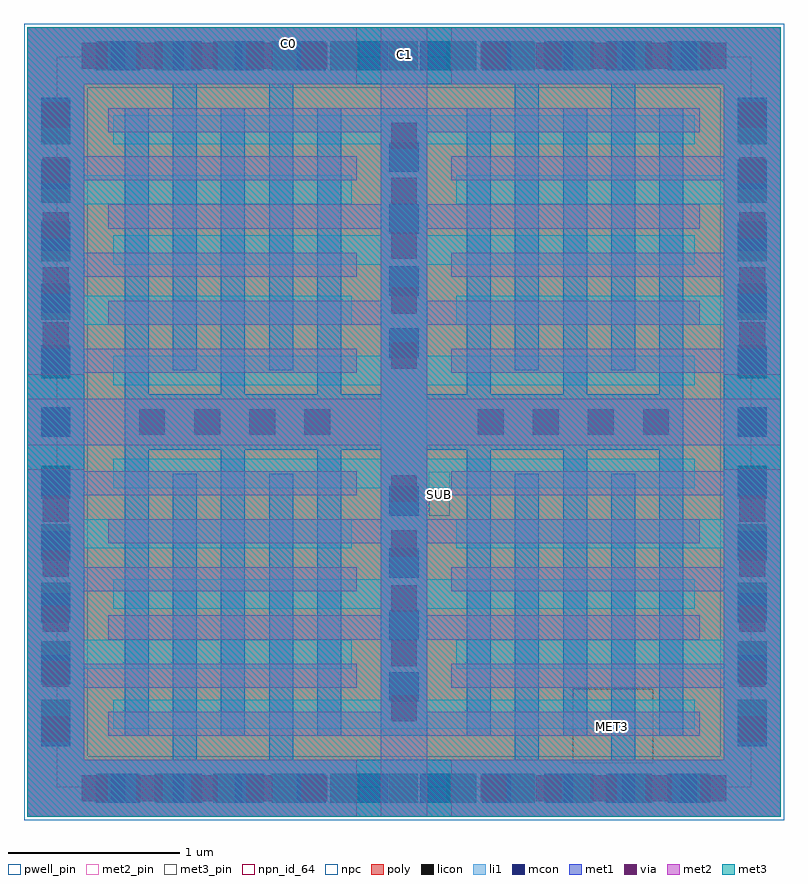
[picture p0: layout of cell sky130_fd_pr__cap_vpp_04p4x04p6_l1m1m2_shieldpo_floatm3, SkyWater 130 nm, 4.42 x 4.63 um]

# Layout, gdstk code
import gdstk
lib = gdstk.Library(unit=1e-6, precision=1e-09)
def R(c, l, rs):  # rectangles x0, y0, x1, y1
    for r in rs: c.add(gdstk.rectangle(r[:2], r[2:], *l))
def A(c, l, x, y, w, h, nx, ny, dx, dy):  # array of equal rectangles
    R(c, l, [(x+i*dx, y+j*dy, x+i*dx+w, y+j*dy+h) for i in range(nx) for j in range(ny)])
poly = (66, 20)
licon = (66, 44)
li1 = (67, 20)
mcon = (67, 44)
met1 = (68, 20)
via = (68, 44)
met2_pin = (69, 16)
met2 = (69, 20)
met3_pin = (70, 16)
met3 = (70, 20)
npn_id_64 = (82, 64)
npc = (95, 20)
pwell_pin = (122, 16)

sky130_fd_pr__cap_vpp_04 = lib.new_cell('sky130_fd_pr__cap_vpp_04p4x04p6_l1m1m2_shieldpo_floatm3')
R(sky130_fd_pr__cap_vpp_04, poly, [(0,0,4.38,4.59)])
A(sky130_fd_pr__cap_vpp_04, licon, 0.4, 0.08, 0.17, 0.17, 11, 2, 0.34, 4.26)
A(sky130_fd_pr__cap_vpp_04, licon, 0.08, 0.51, 0.17, 0.17, 1, 11, 0, 0.34)
A(sky130_fd_pr__cap_vpp_04, licon, 4.13, 0.51, 0.17, 0.17, 1, 11, 0, 0.34)
A(sky130_fd_pr__cap_vpp_04, li1, 0.5, 0.51, 1.575, 0.17, 1, 3, 0, 0.7)
A(sky130_fd_pr__cap_vpp_04, li1, 2.305, 0.51, 1.575, 0.17, 1, 3, 0, 0.7)
A(sky130_fd_pr__cap_vpp_04, li1, 0.5, 2.51, 1.575, 0.17, 1, 3, 0, 0.7)
A(sky130_fd_pr__cap_vpp_04, li1, 2.305, 2.51, 1.575, 0.17, 1, 3, 0, 0.7)
R(sky130_fd_pr__cap_vpp_04, li1, [(0,0,0.33,4.59), (0.33,0,4.38,0.33), (4.05,0,4.38,4.59), (2.055,0.51,2.325,4.08), (0.33,0.86,1.885,1.03), (2.495,0.86,4.05,1.03), (0.33,1.56,1.885,1.73), (2.495,1.56,4.05,1.73), (0.33,2.86,1.885,3.03), (2.495,2.86,4.05,3.03), (0.33,3.56,1.885,3.73), (2.495,3.56,4.05,3.73), (0,4.26,4.38,4.59)])
A(sky130_fd_pr__cap_vpp_04, mcon, 0.485, 0.08, 0.17, 0.17, 10, 2, 0.36, 4.26)
A(sky130_fd_pr__cap_vpp_04, mcon, 0.08, 0.41, 0.17, 0.17, 1, 11, 0, 0.36)
A(sky130_fd_pr__cap_vpp_04, mcon, 4.13, 0.41, 0.17, 0.17, 1, 11, 0, 0.36)
A(sky130_fd_pr__cap_vpp_04, mcon, 2.105, 0.67, 0.17, 0.17, 1, 4, 0, 0.36)
A(sky130_fd_pr__cap_vpp_04, mcon, 2.105, 2.67, 0.17, 0.17, 1, 4, 0, 0.36)
A(sky130_fd_pr__cap_vpp_04, met1, 0.565, 0.47, 0.14, 1.665, 3, 2, 0.56, 1.985)
A(sky130_fd_pr__cap_vpp_04, met1, 2.555, 0.47, 0.14, 1.665, 3, 2, 0.56, 1.985)
R(sky130_fd_pr__cap_vpp_04, met1, [(0,0,4.38,0.33), (0.845,0.32,0.985,1.995), (1.405,0.32,1.545,1.995), (2.835,0.32,2.975,1.995), (3.395,0.32,3.535,1.995), (0,0.33,0.33,4.26), (4.05,0.33,4.38,4.27), (2.055,0.47,2.325,4.12), (0.565,2.135,2.325,2.455), (2.055,2.135,3.815,2.455), (0.845,2.595,0.985,4.27), (1.405,2.595,1.545,4.27), (2.835,2.595,2.975,4.27), (3.395,2.595,3.535,4.27), (0,4.26,4.38,4.59), (0,4.27,0.33,4.59)])
A(sky130_fd_pr__cap_vpp_04, via, 0.09, 0.435, 0.15, 0.15, 1, 5, 0, 0.32)
A(sky130_fd_pr__cap_vpp_04, via, 4.14, 0.435, 0.15, 0.15, 1, 5, 0, 0.32)
A(sky130_fd_pr__cap_vpp_04, via, 2.115, 0.555, 0.15, 0.15, 1, 5, 0, 0.32)
A(sky130_fd_pr__cap_vpp_04, via, 0.65, 2.22, 0.15, 0.15, 4, 1, 0.32, 0)
A(sky130_fd_pr__cap_vpp_04, via, 2.62, 2.22, 0.15, 0.15, 4, 1, 0.32, 0)
A(sky130_fd_pr__cap_vpp_04, via, 2.115, 2.605, 0.15, 0.15, 1, 5, 0, 0.32)
A(sky130_fd_pr__cap_vpp_04, via, 0.09, 2.725, 0.15, 0.15, 1, 5, 0, 0.32)
A(sky130_fd_pr__cap_vpp_04, via, 4.14, 2.725, 0.15, 0.15, 1, 5, 0, 0.32)
R(sky130_fd_pr__cap_vpp_04, via, [(0.315,0.09,0.465,0.24), (0.315,0.09,0.465,0.24), (0.635,0.09,0.785,0.24), (0.635,0.09,0.785,0.24), (0.955,0.09,1.105,0.24), (0.955,0.09,1.105,0.24), (1.275,0.09,1.425,0.24), (1.275,0.09,1.425,0.24), (1.595,0.09,1.745,0.24), (1.595,0.09,1.745,0.24), (2.635,0.09,2.785,0.24), (2.635,0.09,2.785,0.24), (2.955,0.09,3.105,0.24), (2.955,0.09,3.105,0.24), (3.275,0.09,3.425,0.24), (3.275,0.09,3.425,0.24), (3.595,0.09,3.745,0.24), (3.595,0.09,3.745,0.24), (3.915,0.09,4.065,0.24), (3.915,0.09,4.065,0.24), (0.315,4.35,0.465,4.5), (0.315,4.35,0.465,4.5), (0.635,4.35,0.785,4.5), (0.635,4.35,0.785,4.5), (0.955,4.35,1.105,4.5), (0.955,4.35,1.105,4.5), (1.275,4.35,1.425,4.5), (1.275,4.35,1.425,4.5), (1.595,4.35,1.745,4.5), (1.595,4.35,1.745,4.5), (2.635,4.35,2.785,4.5), (2.635,4.35,2.785,4.5), (2.955,4.35,3.105,4.5), (2.955,4.35,3.105,4.5), (3.275,4.35,3.425,4.5), (3.275,4.35,3.425,4.5), (3.595,4.35,3.745,4.5), (3.595,4.35,3.745,4.5), (3.915,4.35,4.065,4.5), (3.915,4.35,4.065,4.5)])
R(sky130_fd_pr__cap_vpp_04, met2_pin, [(2.1,4.34,2.29,4.525), (1.455,4.42,1.585,4.57)])
A(sky130_fd_pr__cap_vpp_04, met2, 0.47, 0.47, 1.585, 0.14, 1, 3, 0, 0.56)
A(sky130_fd_pr__cap_vpp_04, met2, 2.325, 0.47, 1.585, 0.14, 1, 3, 0, 0.56)
A(sky130_fd_pr__cap_vpp_04, met2, 0.33, 0.75, 1.585, 0.14, 1, 3, 0, 0.56)
A(sky130_fd_pr__cap_vpp_04, met2, 2.465, 0.75, 1.585, 0.14, 1, 3, 0, 0.56)
A(sky130_fd_pr__cap_vpp_04, met2, 0.33, 2.58, 1.585, 0.14, 1, 3, 0, 0.56)
A(sky130_fd_pr__cap_vpp_04, met2, 2.465, 2.58, 1.585, 0.14, 1, 3, 0, 0.56)
A(sky130_fd_pr__cap_vpp_04, met2, 0.47, 2.86, 1.585, 0.14, 1, 3, 0, 0.56)
A(sky130_fd_pr__cap_vpp_04, met2, 2.325, 2.86, 1.585, 0.14, 1, 3, 0, 0.56)
R(sky130_fd_pr__cap_vpp_04, met2, [(0,0,1.915,0.33), (2.055,0,2.325,4.59), (2.465,0,4.38,0.33), (0,0.32,0.33,2.02), (4.05,0.32,4.38,2.02), (0,2.16,4.38,2.43), (0,2.57,0.33,4.59), (4.05,2.57,4.38,4.59), (0,4.26,1.915,4.59), (2.465,4.26,4.38,4.59)])
R(sky130_fd_pr__cap_vpp_04, met3_pin, [(3.17,0.31,3.64,0.745)])
R(sky130_fd_pr__cap_vpp_04, met3, [(0,0,4.38,4.59)])
R(sky130_fd_pr__cap_vpp_04, npn_id_64, [(0.17,0.17,4.21,4.42)])
R(sky130_fd_pr__cap_vpp_04, npc, [(-0.02,-0.02,0.35,4.61), (-0.02,-0.02,4.4,0.35), (4.03,-0.02,4.4,4.61), (-0.02,4.24,4.4,4.61)])
R(sky130_fd_pr__cap_vpp_04, pwell_pin, [(2.335,1.75,2.455,2.005)])
sky130_fd_pr__cap_vpp_04.add(gdstk.Label('MET3', (3.405,0.525), layer=70, texttype=5))
sky130_fd_pr__cap_vpp_04.add(gdstk.Label('C1', (2.195,4.43), layer=69, texttype=5))
sky130_fd_pr__cap_vpp_04.add(gdstk.Label('C0', (1.52,4.495), layer=69, texttype=5))
sky130_fd_pr__cap_vpp_04.add(gdstk.Label('SUB', (2.395,1.875), layer=64, texttype=59))

lib.write_gds('sky130_fd_pr__cap_vpp_04p4x04p6_l1m1m2_shieldpo_floatm3.gds')
